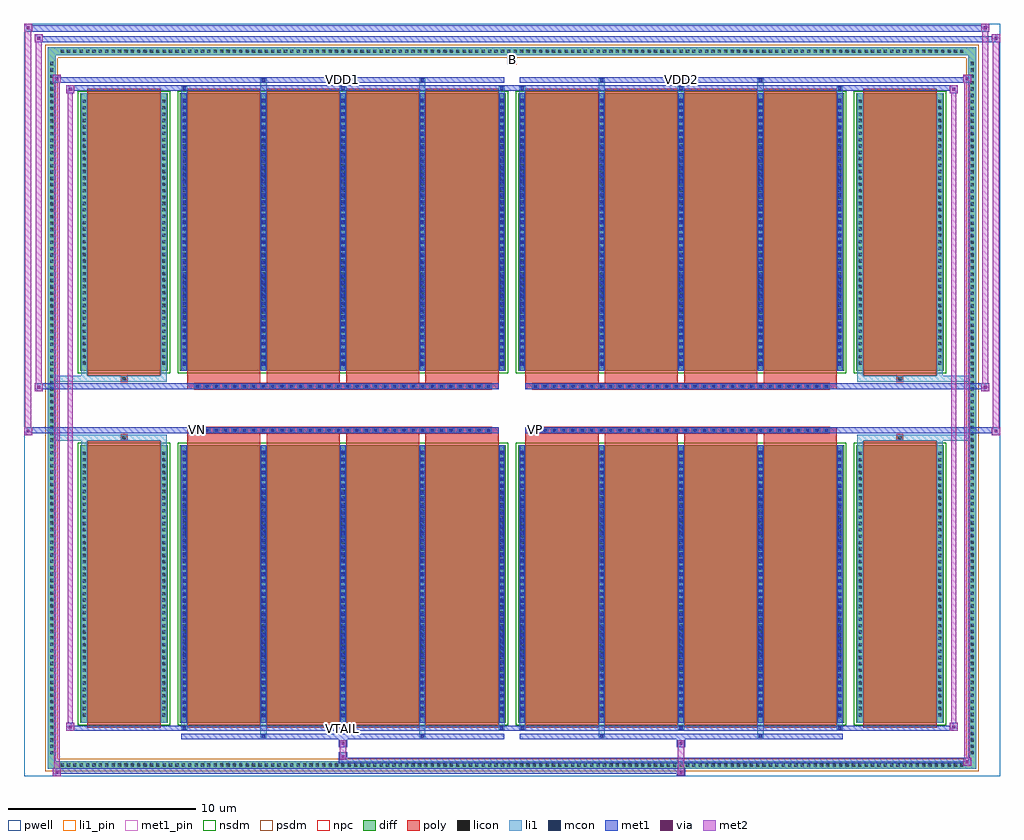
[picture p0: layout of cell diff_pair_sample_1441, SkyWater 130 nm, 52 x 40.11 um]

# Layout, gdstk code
import gdstk
lib = gdstk.Library(unit=1e-6, precision=5e-09)
def R(c, l, rs):  # rectangles x0, y0, x1, y1
    for r in rs: c.add(gdstk.rectangle(r[:2], r[2:], *l))
def A(c, l, x, y, w, h, nx, ny, dx, dy):  # array of equal rectangles
    R(c, l, [(x+i*dx, y+j*dy, x+i*dx+w, y+j*dy+h) for i in range(nx) for j in range(ny)])
def P(c, l, *ps):  # polygons
    for p in ps: c.add(gdstk.Polygon(p, *l))
pwell = (64, 44)
diff = (65, 20)
poly = (66, 20)
licon = (66, 44)
li1_pin = (67, 16)
li1 = (67, 20)
mcon = (67, 44)
met1_pin = (68, 16)
met1 = (68, 20)
via = (68, 44)
met2 = (69, 20)
nsdm = (93, 44)
psdm = (94, 20)
npc = (95, 20)

diff_pair_sample_1441 = lib.new_cell('diff_pair_sample_1441')
R(diff_pair_sample_1441, pwell, [(-26,-19.62,26,20.49), (-23.32,-17.81,-0.01,-0.805), (0.01,-17.81,23.32,-0.805), (-23.32,0.805,-0.01,17.81), (0.01,0.805,23.32,17.81)])
A(diff_pair_sample_1441, diff, -24.175, -19.22, 0.41, 0.41, 142, 2, 0.34, 38.03)
A(diff_pair_sample_1441, diff, -24.73, -18.565, 0.41, 0.41, 1, 109, 0, 0.34)
A(diff_pair_sample_1441, diff, 24.32, -18.565, 0.41, 0.41, 1, 109, 0, 0.34)
R(diff_pair_sample_1441, diff, [(-24.175,-19.22,24.175,-18.81), (-24.73,-18.565,-24.32,18.565), (24.32,-18.565,24.73,18.565), (-23.01,-16.765,-18.33,-1.985), (-17.69,-16.765,-0.32,-1.985), (0.32,-16.765,17.69,-1.985), (18.33,-16.765,23.01,-1.985), (-23.01,1.985,-18.33,16.765), (-17.69,1.985,-0.32,16.765), (0.32,1.985,17.69,16.765), (18.33,1.985,23.01,16.765), (-24.175,18.81,24.175,19.22)])
P(diff_pair_sample_1441, diff, [(24.73,19.22),(-24.73,19.22),(-24.73,-18.81),(-24.32,-18.81),(-24.32,18.81),(24.32,18.81),(24.32,-18.81),(-24.32,-18.81),(-24.73,-18.81),(-24.73,-19.22),(24.73,-19.22)])
A(diff_pair_sample_1441, poly, -17.3, -17.015, 3.9, 15.28, 4, 2, 4.23, 18.75)
A(diff_pair_sample_1441, poly, 0.71, -17.015, 3.9, 15.28, 4, 2, 4.23, 18.75)
A(diff_pair_sample_1441, poly, -17.3, -1.735, 3.9, 0.4, 4, 2, 4.23, 3.07)
A(diff_pair_sample_1441, poly, 0.71, -1.735, 3.9, 0.4, 4, 2, 4.23, 3.07)
A(diff_pair_sample_1441, poly, -16.92, -1.335, 0.33, 0.33, 32, 2, 0.5, 2.34)
A(diff_pair_sample_1441, poly, 1.09, -1.335, 0.33, 0.33, 32, 2, 0.5, 2.34)
R(diff_pair_sample_1441, poly, [(-22.62,-17.015,-18.72,-1.735), (18.72,-17.015,22.62,-1.735), (-20.835,-1.735,-20.505,-1.405), (-20.835,-1.735,-20.505,-1.405), (20.505,-1.735,20.835,-1.405), (20.505,-1.735,20.835,-1.405), (-17.3,-1.335,-0.71,-1.005), (0.71,-1.335,17.3,-1.005), (-17.3,1.005,-0.71,1.335), (0.71,1.005,17.3,1.335), (-20.835,1.405,-20.505,1.735), (-20.835,1.405,-20.505,1.735), (20.505,1.405,20.835,1.735), (20.505,1.405,20.835,1.735), (-22.62,1.735,-18.72,17.015), (18.72,1.735,22.62,17.015)])
A(diff_pair_sample_1441, licon, -24.055, -19.1, 0.17, 0.17, 142, 2, 0.34, 38.03)
A(diff_pair_sample_1441, licon, -24.61, -18.445, 0.17, 0.17, 1, 109, 0, 0.34)
A(diff_pair_sample_1441, licon, 24.44, -18.445, 0.17, 0.17, 1, 109, 0, 0.34)
A(diff_pair_sample_1441, licon, -22.87, -16.43, 0.17, 0.17, 1, 42, 0, 0.34)
A(diff_pair_sample_1441, licon, -18.64, -16.43, 0.17, 0.17, 1, 42, 0, 0.34)
A(diff_pair_sample_1441, licon, -17.55, -16.43, 0.17, 0.17, 5, 42, 4.23, 0.34)
A(diff_pair_sample_1441, licon, 0.46, -16.43, 0.17, 0.17, 5, 42, 4.23, 0.34)
A(diff_pair_sample_1441, licon, 18.47, -16.43, 0.17, 0.17, 1, 42, 0, 0.34)
A(diff_pair_sample_1441, licon, 22.7, -16.43, 0.17, 0.17, 1, 42, 0, 0.34)
A(diff_pair_sample_1441, licon, -16.84, -1.255, 0.17, 0.17, 32, 2, 0.5, 2.34)
A(diff_pair_sample_1441, licon, 1.17, -1.255, 0.17, 0.17, 32, 2, 0.5, 2.34)
A(diff_pair_sample_1441, licon, -22.87, 2.32, 0.17, 0.17, 1, 42, 0, 0.34)
A(diff_pair_sample_1441, licon, -18.64, 2.32, 0.17, 0.17, 1, 42, 0, 0.34)
A(diff_pair_sample_1441, licon, -17.55, 2.32, 0.17, 0.17, 5, 42, 4.23, 0.34)
A(diff_pair_sample_1441, licon, 0.46, 2.32, 0.17, 0.17, 5, 42, 4.23, 0.34)
A(diff_pair_sample_1441, licon, 18.47, 2.32, 0.17, 0.17, 1, 42, 0, 0.34)
A(diff_pair_sample_1441, licon, 22.7, 2.32, 0.17, 0.17, 1, 42, 0, 0.34)
R(diff_pair_sample_1441, licon, [(-20.755,-1.655,-20.585,-1.485), (20.585,-1.655,20.755,-1.485), (-20.755,1.485,-20.585,1.655), (20.585,1.485,20.755,1.655)])
R(diff_pair_sample_1441, li1_pin, [(-0.25,18.31,0.25,18.81)])
A(diff_pair_sample_1441, li1, -24.135, -19.18, 0.33, 0.33, 142, 2, 0.34, 38.03)
A(diff_pair_sample_1441, li1, -24.69, -18.525, 0.33, 0.33, 1, 109, 0, 0.34)
A(diff_pair_sample_1441, li1, 24.36, -18.525, 0.33, 0.33, 1, 109, 0, 0.34)
A(diff_pair_sample_1441, li1, -17.63, -17.14, 0.33, 0.375, 3, 2, 8.46, 33.905)
A(diff_pair_sample_1441, li1, -17.55, -17.14, 0.17, 0.17, 3, 2, 8.46, 34.11)
A(diff_pair_sample_1441, li1, 0.38, -17.14, 0.33, 0.375, 3, 2, 8.46, 33.905)
A(diff_pair_sample_1441, li1, 0.46, -17.14, 0.17, 0.17, 3, 2, 8.46, 34.11)
A(diff_pair_sample_1441, li1, -17.63, -16.765, 0.33, 14.78, 5, 2, 4.23, 18.75)
A(diff_pair_sample_1441, li1, 0.38, -16.765, 0.33, 14.78, 5, 2, 4.23, 18.75)
A(diff_pair_sample_1441, li1, -22.95, -16.51, 0.33, 0.33, 1, 42, 0, 0.34)
A(diff_pair_sample_1441, li1, -18.72, -16.51, 0.33, 0.33, 1, 42, 0, 0.34)
A(diff_pair_sample_1441, li1, -17.63, -16.51, 0.33, 0.33, 5, 42, 4.23, 0.34)
A(diff_pair_sample_1441, li1, 0.38, -16.51, 0.33, 0.33, 5, 42, 4.23, 0.34)
A(diff_pair_sample_1441, li1, 18.39, -16.51, 0.33, 0.33, 1, 42, 0, 0.34)
A(diff_pair_sample_1441, li1, 22.62, -16.51, 0.33, 0.33, 1, 42, 0, 0.34)
A(diff_pair_sample_1441, li1, -17.55, -16.48, 0.17, 0.17, 5, 40, 4.23, 0.36)
A(diff_pair_sample_1441, li1, -17.55, -16.48, 0.17, 14.21, 5, 2, 4.23, 18.75)
A(diff_pair_sample_1441, li1, 0.46, -16.48, 0.17, 0.17, 5, 40, 4.23, 0.36)
A(diff_pair_sample_1441, li1, 0.46, -16.48, 0.17, 14.21, 5, 2, 4.23, 18.75)
A(diff_pair_sample_1441, li1, -16.92, -1.335, 0.33, 0.33, 32, 2, 0.5, 2.34)
A(diff_pair_sample_1441, li1, 1.09, -1.335, 0.33, 0.33, 32, 2, 0.5, 2.34)
A(diff_pair_sample_1441, li1, -22.95, 2.24, 0.33, 0.33, 1, 42, 0, 0.34)
A(diff_pair_sample_1441, li1, -18.72, 2.24, 0.33, 0.33, 1, 42, 0, 0.34)
A(diff_pair_sample_1441, li1, -17.63, 2.24, 0.33, 0.33, 5, 42, 4.23, 0.34)
A(diff_pair_sample_1441, li1, 0.38, 2.24, 0.33, 0.33, 5, 42, 4.23, 0.34)
A(diff_pair_sample_1441, li1, 18.39, 2.24, 0.33, 0.33, 1, 42, 0, 0.34)
A(diff_pair_sample_1441, li1, 22.62, 2.24, 0.33, 0.33, 1, 42, 0, 0.34)
A(diff_pair_sample_1441, li1, -17.55, 2.27, 0.17, 0.17, 5, 40, 4.23, 0.36)
A(diff_pair_sample_1441, li1, 0.46, 2.27, 0.17, 0.17, 5, 40, 4.23, 0.36)
R(diff_pair_sample_1441, li1, [(-24.73,-19.22,-24.32,-18.81), (-24.73,-19.22,-24.32,-18.81), (-24.32,-19.22,24.32,-18.81), (24.32,-19.22,24.73,-18.81), (24.32,-19.22,24.73,-18.81), (-24.73,-18.81,-24.32,18.81), (24.32,-18.81,24.73,18.81), (-13.4,-17.57,-13.07,-16.765), (-13.32,-17.57,-13.15,-17.4), (-4.94,-17.57,-4.61,-16.765), (-4.86,-17.57,-4.69,-17.4), (4.61,-17.57,4.94,-16.765), (4.69,-17.57,4.86,-17.4), (13.07,-17.57,13.4,-16.765), (13.15,-17.57,13.32,-17.4), (-22.95,-16.765,-22.62,-1.985), (-18.72,-16.765,-18.39,-1.985), (18.39,-16.765,18.72,-1.985), (22.62,-16.765,22.95,-1.985), (-22.95,-1.985,-22.62,-1.405), (-18.72,-1.985,-18.39,-1.405), (18.39,-1.985,18.72,-1.405), (22.62,-1.985,22.95,-1.405), (-24.73,-1.735,-20.835,-1.405), (-22.95,-1.735,-20.835,-1.405), (-20.835,-1.735,-20.505,-1.405), (-20.505,-1.735,-18.39,-1.405), (18.39,-1.735,20.505,-1.405), (20.505,-1.735,20.835,-1.405), (20.505,-1.735,24.73,-1.405), (20.835,-1.735,22.95,-1.405), (-24.73,1.405,-20.835,1.735), (-22.95,1.405,-20.835,1.735), (-22.95,1.405,-22.62,1.985), (-20.835,1.405,-20.505,1.735), (-20.505,1.405,-18.39,1.735), (-18.72,1.405,-18.39,1.985), (18.39,1.405,20.505,1.735), (18.39,1.405,18.72,1.985), (20.505,1.405,20.835,1.735), (20.505,1.405,24.73,1.735), (20.835,1.405,22.95,1.735), (22.62,1.405,22.95,1.985), (-22.95,1.985,-22.62,16.765), (-18.72,1.985,-18.39,16.765), (18.39,1.985,18.72,16.765), (22.62,1.985,22.95,16.765), (-13.4,16.765,-13.07,17.57), (-4.94,16.765,-4.61,17.57), (4.61,16.765,4.94,17.57), (13.07,16.765,13.4,17.57), (-13.32,17.4,-13.15,17.57), (-4.86,17.4,-4.69,17.57), (4.69,17.4,4.86,17.57), (13.15,17.4,13.32,17.57), (-24.73,18.81,-24.32,19.22), (-24.73,18.81,-24.32,19.22), (-24.32,18.81,24.32,19.22), (24.32,18.81,24.73,19.22), (24.32,18.81,24.73,19.22)])
A(diff_pair_sample_1441, mcon, -17.55, -17.14, 0.17, 0.17, 3, 2, 8.46, 34.11)
A(diff_pair_sample_1441, mcon, 0.46, -17.14, 0.17, 0.17, 3, 2, 8.46, 34.11)
A(diff_pair_sample_1441, mcon, -17.55, -16.48, 0.17, 0.17, 5, 40, 4.23, 0.36)
A(diff_pair_sample_1441, mcon, 0.46, -16.48, 0.17, 0.17, 5, 40, 4.23, 0.36)
A(diff_pair_sample_1441, mcon, -16.84, -1.255, 0.17, 0.17, 32, 2, 0.5, 2.34)
A(diff_pair_sample_1441, mcon, 1.17, -1.255, 0.17, 0.17, 32, 2, 0.5, 2.34)
A(diff_pair_sample_1441, mcon, -17.55, 2.27, 0.17, 0.17, 5, 40, 4.23, 0.36)
A(diff_pair_sample_1441, mcon, 0.46, 2.27, 0.17, 0.17, 5, 40, 4.23, 0.36)
R(diff_pair_sample_1441, mcon, [(-13.32,-17.57,-13.15,-17.4), (-4.86,-17.57,-4.69,-17.4), (4.69,-17.57,4.86,-17.4), (13.15,-17.57,13.32,-17.4), (-13.32,17.4,-13.15,17.57), (-4.86,17.4,-4.69,17.57), (4.69,17.4,4.86,17.57), (13.15,17.4,13.32,17.57)])
R(diff_pair_sample_1441, met1_pin, [(-9.14,-17.18,-8.87,-16.91), (-16.89,-1.295,-16.62,-1.025), (1.12,-1.295,1.39,-1.025), (-9.14,17.36,-8.87,17.63), (8.87,17.36,9.14,17.63)])
A(diff_pair_sample_1441, met1, -17.61, -17.2, 0.29, 0.29, 3, 2, 8.46, 34.11)
A(diff_pair_sample_1441, met1, 0.4, -17.2, 0.29, 0.29, 3, 2, 8.46, 34.11)
A(diff_pair_sample_1441, met1, -17.61, -16.765, 0.29, 14.78, 5, 2, 4.23, 18.75)
A(diff_pair_sample_1441, met1, 0.4, -16.765, 0.29, 14.78, 5, 2, 4.23, 18.75)
A(diff_pair_sample_1441, met1, -17.61, -16.54, 0.29, 0.29, 5, 40, 4.23, 0.36)
A(diff_pair_sample_1441, met1, 0.4, -16.54, 0.29, 0.29, 5, 40, 4.23, 0.36)
A(diff_pair_sample_1441, met1, -16.9, -1.315, 0.29, 0.29, 32, 2, 0.5, 2.34)
A(diff_pair_sample_1441, met1, 1.11, -1.315, 0.29, 0.29, 32, 2, 0.5, 2.34)
A(diff_pair_sample_1441, met1, -17.61, 2.21, 0.29, 0.29, 5, 40, 4.23, 0.36)
A(diff_pair_sample_1441, met1, 0.4, 2.21, 0.29, 0.29, 5, 40, 4.23, 0.36)
R(diff_pair_sample_1441, met1, [(-24.46,-19.62,-24.03,-19.19), (8.79,-19.62,9.22,-19.19), (-24.46,-19.48,9.22,-19.19), (24.03,-19.05,24.46,-18.62), (-9.22,-18.91,24.46,-18.62), (-9.22,-18.77,-8.79,-18.34), (-9.22,-18.06,-8.79,-17.63), (8.79,-18.06,9.22,-17.63), (-17.61,-17.63,-0.4,-17.34), (-13.38,-17.63,-13.09,-17.34), (-4.92,-17.63,-4.63,-17.34), (0.4,-17.63,17.61,-17.34), (4.63,-17.63,4.92,-17.34), (13.09,-17.63,13.38,-17.34), (-23.75,-17.2,-23.32,-16.77), (-23.75,-17.2,-17.61,-16.91), (-17.61,-17.2,-0.4,-16.91), (-0.4,-17.2,0.4,-16.91), (0.4,-17.2,17.61,-16.91), (17.61,-17.2,23.75,-16.91), (23.32,-17.2,23.75,-16.77), (-26,-1.435,-25.57,-1.005), (25.57,-1.435,26,-1.005), (-26,-1.335,-0.71,-1.005), (-17.3,-1.335,-0.71,-1.005), (0.71,-1.335,17.3,-1.005), (0.71,-1.335,26,-1.005), (-25.43,0.905,-25,1.335), (25,0.905,25.43,1.335), (-25.43,1.005,-17.3,1.335), (-17.3,1.005,-0.71,1.335), (0.71,1.005,17.3,1.335), (17.3,1.005,25.43,1.335), (-23.75,16.77,-23.32,17.2), (23.32,16.77,23.75,17.2), (-23.75,16.91,-17.61,17.2), (-17.61,16.91,-0.4,17.2), (-0.4,16.91,0.4,17.2), (0.4,16.91,17.61,17.2), (17.61,16.91,23.75,17.2), (-24.46,17.34,-24.03,17.77), (-24.46,17.34,-17.61,17.63), (-17.61,17.34,-0.4,17.63), (-13.38,17.34,-13.09,17.63), (-4.92,17.34,-4.63,17.63), (0.4,17.34,17.61,17.63), (4.63,17.34,4.92,17.63), (13.09,17.34,13.38,17.63), (17.61,17.34,24.46,17.63), (24.03,17.34,24.46,17.77), (-25.43,19.49,-25,19.92), (-25.43,19.49,-23.32,19.82), (-23.32,19.49,23.32,19.82), (23.32,19.49,26,19.82), (25.57,19.49,26,19.92), (-26,20.06,-25.57,20.49), (-26,20.06,-23.32,20.39), (-23.32,20.06,23.32,20.39), (23.32,20.06,25.43,20.39), (25,20.06,25.43,20.49)])
R(diff_pair_sample_1441, via, [(-24.32,-19.48,-24.17,-19.33), (8.93,-19.48,9.08,-19.33), (24.17,-18.91,24.32,-18.76), (-9.08,-18.63,-8.93,-18.48), (-9.08,-17.92,-8.93,-17.77), (8.93,-17.92,9.08,-17.77), (-23.61,-17.06,-23.46,-16.91), (23.46,-17.06,23.61,-16.91), (-25.86,-1.295,-25.71,-1.145), (25.71,-1.295,25.86,-1.145), (-25.29,1.045,-25.14,1.195), (25.14,1.045,25.29,1.195), (-23.61,16.91,-23.46,17.06), (23.46,16.91,23.61,17.06), (-24.32,17.48,-24.17,17.63), (24.17,17.48,24.32,17.63), (-25.29,19.63,-25.14,19.78), (25.71,19.63,25.86,19.78), (-25.86,20.2,-25.71,20.35), (25.14,20.2,25.29,20.35)])
R(diff_pair_sample_1441, met2, [(-24.46,-19.62,-24.03,-19.19), (-24.39,-19.62,-24.1,17.77), (-24.1,-19.62,-24.03,-19.19), (-24.41,-19.57,-24.08,-19.24), (8.84,-19.57,9.17,-19.24), (8.84,-19.24,9.17,-18.01), (24.03,-19.05,24.46,-18.62), (24.1,-19.05,24.39,17.77), (24.39,-19.05,24.46,-18.62), (24.08,-19,24.41,-18.67), (-9.17,-18.72,-8.84,-18.39), (-9.17,-18.39,-8.84,-18.01), (-9.17,-18.01,-8.84,-17.68), (8.84,-18.01,9.17,-17.68), (-23.75,-17.2,-23.32,-16.77), (-23.68,-17.2,-23.39,17.2), (-23.39,-17.2,-23.32,-16.77), (23.32,-17.2,23.75,-16.77), (23.39,-17.2,23.68,17.2), (23.68,-17.2,23.75,-16.77), (-23.7,-17.15,-23.37,-16.82), (23.37,-17.15,23.7,-16.82), (-26,-1.435,-25.57,-1.005), (-25.95,-1.435,-25.62,20.49), (-25.62,-1.435,-25.57,-1.005), (25.57,-1.435,26,-1.005), (25.62,-1.435,25.95,19.92), (25.95,-1.435,26,-1.005), (-25.95,-1.385,-25.62,-1.055), (25.62,-1.385,25.95,-1.055), (-25.43,0.905,-25,1.335), (-25.38,0.905,-25.05,19.92), (-25.05,0.905,-25,1.335), (25,0.905,25.43,1.335), (25.05,0.905,25.38,20.49), (25.38,0.905,25.43,1.335), (-25.38,0.955,-25.05,1.285), (25.05,0.955,25.38,1.285), (-23.75,16.77,-23.32,17.2), (-23.39,16.77,-23.32,17.2), (23.32,16.77,23.75,17.2), (23.68,16.77,23.75,17.2), (-23.7,16.82,-23.37,17.15), (23.37,16.82,23.7,17.15), (-24.46,17.34,-24.03,17.77), (-24.1,17.34,-24.03,17.77), (24.03,17.34,24.46,17.77), (24.39,17.34,24.46,17.77), (-24.41,17.39,-24.08,17.72), (24.08,17.39,24.41,17.72), (-25.43,19.49,-25,19.92), (-25.05,19.49,-25,19.92), (25.57,19.49,26,19.92), (25.95,19.49,26,19.92), (-25.38,19.54,-25.05,19.87), (25.62,19.54,25.95,19.87), (-26,20.06,-25.57,20.49), (-25.62,20.06,-25.57,20.49), (25,20.06,25.43,20.49), (25.38,20.06,25.43,20.49), (-25.95,20.11,-25.62,20.44), (25.05,20.11,25.38,20.44)])
R(diff_pair_sample_1441, nsdm, [(-23.14,-16.895,-18.2,-1.855), (-17.82,-16.895,-0.19,-1.855), (0.19,-16.895,17.82,-1.855), (18.2,-16.895,23.14,-1.855), (-23.14,1.855,-18.2,16.895), (-17.82,1.855,-0.19,16.895), (0.19,1.855,17.82,16.895), (18.2,1.855,23.14,16.895)])
P(diff_pair_sample_1441, psdm, [(24.86,19.35),(-24.86,19.35),(-24.86,-18.68),(-24.19,-18.68),(-24.19,18.68),(24.19,18.68),(24.19,-18.68),(-24.19,-18.68),(-24.86,-18.68),(-24.86,-19.35),(24.86,-19.35)])
A(diff_pair_sample_1441, npc, -16.94, -1.355, 0.37, 0.37, 32, 2, 0.5, 2.34)
A(diff_pair_sample_1441, npc, 1.07, -1.355, 0.37, 0.37, 32, 2, 0.5, 2.34)
R(diff_pair_sample_1441, npc, [(-20.855,-1.755,-20.485,-1.385), (20.485,-1.755,20.855,-1.385), (-16.94,-1.355,-16.07,-0.985), (-16.94,-1.355,-16.07,-0.985), (-16.44,-1.355,-15.57,-0.985), (-16.44,-1.355,-15.57,-0.985), (-15.94,-1.355,-15.07,-0.985), (-15.94,-1.355,-15.07,-0.985), (-15.44,-1.355,-14.57,-0.985), (-15.44,-1.355,-14.57,-0.985), (-14.94,-1.355,-14.07,-0.985), (-14.94,-1.355,-14.07,-0.985), (-14.44,-1.355,-13.57,-0.985), (-14.44,-1.355,-13.57,-0.985), (-13.94,-1.355,-13.07,-0.985), (-13.94,-1.355,-13.07,-0.985), (-13.44,-1.355,-12.57,-0.985), (-13.44,-1.355,-12.57,-0.985), (-12.94,-1.355,-12.07,-0.985), (-12.94,-1.355,-12.07,-0.985), (-12.44,-1.355,-11.57,-0.985), (-12.44,-1.355,-11.57,-0.985), (-11.94,-1.355,-11.07,-0.985), (-11.94,-1.355,-11.07,-0.985), (-11.44,-1.355,-10.57,-0.985), (-11.44,-1.355,-10.57,-0.985), (-10.94,-1.355,-10.07,-0.985), (-10.94,-1.355,-10.07,-0.985), (-10.44,-1.355,-9.57,-0.985), (-10.44,-1.355,-9.57,-0.985), (-9.94,-1.355,-9.07,-0.985), (-9.94,-1.355,-9.07,-0.985), (-9.44,-1.355,-8.57,-0.985), (-9.44,-1.355,-8.57,-0.985), (-8.94,-1.355,-8.07,-0.985), (-8.94,-1.355,-8.07,-0.985), (-8.44,-1.355,-7.57,-0.985), (-8.44,-1.355,-7.57,-0.985), (-7.94,-1.355,-7.07,-0.985), (-7.94,-1.355,-7.07,-0.985), (-7.44,-1.355,-6.57,-0.985), (-7.44,-1.355,-6.57,-0.985), (-6.94,-1.355,-6.07,-0.985), (-6.94,-1.355,-6.07,-0.985), (-6.44,-1.355,-5.57,-0.985), (-6.44,-1.355,-5.57,-0.985), (-5.94,-1.355,-5.07,-0.985), (-5.94,-1.355,-5.07,-0.985), (-5.44,-1.355,-4.57,-0.985), (-5.44,-1.355,-4.57,-0.985), (-4.94,-1.355,-4.07,-0.985), (-4.94,-1.355,-4.07,-0.985), (-4.44,-1.355,-3.57,-0.985), (-4.44,-1.355,-3.57,-0.985), (-3.94,-1.355,-3.07,-0.985), (-3.94,-1.355,-3.07,-0.985), (-3.44,-1.355,-2.57,-0.985), (-3.44,-1.355,-2.57,-0.985), (-2.94,-1.355,-2.07,-0.985), (-2.94,-1.355,-2.07,-0.985), (-2.44,-1.355,-1.57,-0.985), (-2.44,-1.355,-1.57,-0.985), (-1.94,-1.355,-1.07,-0.985), (-1.94,-1.355,-1.07,-0.985), (1.07,-1.355,1.94,-0.985), (1.07,-1.355,1.94,-0.985), (1.57,-1.355,2.44,-0.985), (1.57,-1.355,2.44,-0.985), (2.07,-1.355,2.94,-0.985), (2.07,-1.355,2.94,-0.985), (2.57,-1.355,3.44,-0.985), (2.57,-1.355,3.44,-0.985), (3.07,-1.355,3.94,-0.985), (3.07,-1.355,3.94,-0.985), (3.57,-1.355,4.44,-0.985), (3.57,-1.355,4.44,-0.985), (4.07,-1.355,4.94,-0.985), (4.07,-1.355,4.94,-0.985), (4.57,-1.355,5.44,-0.985), (4.57,-1.355,5.44,-0.985), (5.07,-1.355,5.94,-0.985), (5.07,-1.355,5.94,-0.985), (5.57,-1.355,6.44,-0.985), (5.57,-1.355,6.44,-0.985), (6.07,-1.355,6.94,-0.985), (6.07,-1.355,6.94,-0.985), (6.57,-1.355,7.44,-0.985), (6.57,-1.355,7.44,-0.985), (7.07,-1.355,7.94,-0.985), (7.07,-1.355,7.94,-0.985), (7.57,-1.355,8.44,-0.985), (7.57,-1.355,8.44,-0.985), (8.07,-1.355,8.94,-0.985), (8.07,-1.355,8.94,-0.985), (8.57,-1.355,9.44,-0.985), (8.57,-1.355,9.44,-0.985), (9.07,-1.355,9.94,-0.985), (9.07,-1.355,9.94,-0.985), (9.57,-1.355,10.44,-0.985), (9.57,-1.355,10.44,-0.985), (10.07,-1.355,10.94,-0.985), (10.07,-1.355,10.94,-0.985), (10.57,-1.355,11.44,-0.985), (10.57,-1.355,11.44,-0.985), (11.07,-1.355,11.94,-0.985), (11.07,-1.355,11.94,-0.985), (11.57,-1.355,12.44,-0.985), (11.57,-1.355,12.44,-0.985), (12.07,-1.355,12.94,-0.985), (12.07,-1.355,12.94,-0.985), (12.57,-1.355,13.44,-0.985), (12.57,-1.355,13.44,-0.985), (13.07,-1.355,13.94,-0.985), (13.07,-1.355,13.94,-0.985), (13.57,-1.355,14.44,-0.985), (13.57,-1.355,14.44,-0.985), (14.07,-1.355,14.94,-0.985), (14.07,-1.355,14.94,-0.985), (14.57,-1.355,15.44,-0.985), (14.57,-1.355,15.44,-0.985), (15.07,-1.355,15.94,-0.985), (15.07,-1.355,15.94,-0.985), (15.57,-1.355,16.44,-0.985), (15.57,-1.355,16.44,-0.985), (16.07,-1.355,16.94,-0.985), (16.07,-1.355,16.94,-0.985), (-16.94,0.985,-16.07,1.355), (-16.94,0.985,-16.07,1.355), (-16.44,0.985,-15.57,1.355), (-16.44,0.985,-15.57,1.355), (-15.94,0.985,-15.07,1.355), (-15.94,0.985,-15.07,1.355), (-15.44,0.985,-14.57,1.355), (-15.44,0.985,-14.57,1.355), (-14.94,0.985,-14.07,1.355), (-14.94,0.985,-14.07,1.355), (-14.44,0.985,-13.57,1.355), (-14.44,0.985,-13.57,1.355), (-13.94,0.985,-13.07,1.355), (-13.94,0.985,-13.07,1.355), (-13.44,0.985,-12.57,1.355), (-13.44,0.985,-12.57,1.355), (-12.94,0.985,-12.07,1.355), (-12.94,0.985,-12.07,1.355), (-12.44,0.985,-11.57,1.355), (-12.44,0.985,-11.57,1.355), (-11.94,0.985,-11.07,1.355), (-11.94,0.985,-11.07,1.355), (-11.44,0.985,-10.57,1.355), (-11.44,0.985,-10.57,1.355), (-10.94,0.985,-10.07,1.355), (-10.94,0.985,-10.07,1.355), (-10.44,0.985,-9.57,1.355), (-10.44,0.985,-9.57,1.355), (-9.94,0.985,-9.07,1.355), (-9.94,0.985,-9.07,1.355), (-9.44,0.985,-8.57,1.355), (-9.44,0.985,-8.57,1.355), (-8.94,0.985,-8.07,1.355), (-8.94,0.985,-8.07,1.355), (-8.44,0.985,-7.57,1.355), (-8.44,0.985,-7.57,1.355), (-7.94,0.985,-7.07,1.355), (-7.94,0.985,-7.07,1.355), (-7.44,0.985,-6.57,1.355), (-7.44,0.985,-6.57,1.355), (-6.94,0.985,-6.07,1.355), (-6.94,0.985,-6.07,1.355), (-6.44,0.985,-5.57,1.355), (-6.44,0.985,-5.57,1.355), (-5.94,0.985,-5.07,1.355), (-5.94,0.985,-5.07,1.355), (-5.44,0.985,-4.57,1.355), (-5.44,0.985,-4.57,1.355), (-4.94,0.985,-4.07,1.355), (-4.94,0.985,-4.07,1.355), (-4.44,0.985,-3.57,1.355), (-4.44,0.985,-3.57,1.355), (-3.94,0.985,-3.07,1.355), (-3.94,0.985,-3.07,1.355), (-3.44,0.985,-2.57,1.355), (-3.44,0.985,-2.57,1.355), (-2.94,0.985,-2.07,1.355), (-2.94,0.985,-2.07,1.355), (-2.44,0.985,-1.57,1.355), (-2.44,0.985,-1.57,1.355), (-1.94,0.985,-1.07,1.355), (-1.94,0.985,-1.07,1.355), (1.07,0.985,1.94,1.355), (1.07,0.985,1.94,1.355), (1.57,0.985,2.44,1.355), (1.57,0.985,2.44,1.355), (2.07,0.985,2.94,1.355), (2.07,0.985,2.94,1.355), (2.57,0.985,3.44,1.355), (2.57,0.985,3.44,1.355), (3.07,0.985,3.94,1.355), (3.07,0.985,3.94,1.355), (3.57,0.985,4.44,1.355), (3.57,0.985,4.44,1.355), (4.07,0.985,4.94,1.355), (4.07,0.985,4.94,1.355), (4.57,0.985,5.44,1.355), (4.57,0.985,5.44,1.355), (5.07,0.985,5.94,1.355), (5.07,0.985,5.94,1.355), (5.57,0.985,6.44,1.355), (5.57,0.985,6.44,1.355), (6.07,0.985,6.94,1.355), (6.07,0.985,6.94,1.355), (6.57,0.985,7.44,1.355), (6.57,0.985,7.44,1.355), (7.07,0.985,7.94,1.355), (7.07,0.985,7.94,1.355), (7.57,0.985,8.44,1.355), (7.57,0.985,8.44,1.355), (8.07,0.985,8.94,1.355), (8.07,0.985,8.94,1.355), (8.57,0.985,9.44,1.355), (8.57,0.985,9.44,1.355), (9.07,0.985,9.94,1.355), (9.07,0.985,9.94,1.355), (9.57,0.985,10.44,1.355), (9.57,0.985,10.44,1.355), (10.07,0.985,10.94,1.355), (10.07,0.985,10.94,1.355), (10.57,0.985,11.44,1.355), (10.57,0.985,11.44,1.355), (11.07,0.985,11.94,1.355), (11.07,0.985,11.94,1.355), (11.57,0.985,12.44,1.355), (11.57,0.985,12.44,1.355), (12.07,0.985,12.94,1.355), (12.07,0.985,12.94,1.355), (12.57,0.985,13.44,1.355), (12.57,0.985,13.44,1.355), (13.07,0.985,13.94,1.355), (13.07,0.985,13.94,1.355), (13.57,0.985,14.44,1.355), (13.57,0.985,14.44,1.355), (14.07,0.985,14.94,1.355), (14.07,0.985,14.94,1.355), (14.57,0.985,15.44,1.355), (14.57,0.985,15.44,1.355), (15.07,0.985,15.94,1.355), (15.07,0.985,15.94,1.355), (15.57,0.985,16.44,1.355), (15.57,0.985,16.44,1.355), (16.07,0.985,16.94,1.355), (16.07,0.985,16.94,1.355), (-20.855,1.385,-20.485,1.755), (20.485,1.385,20.855,1.755)])
diff_pair_sample_1441.add(gdstk.Label('VTAIL', (-9.005,-17.045), layer=68, texttype=5))
diff_pair_sample_1441.add(gdstk.Label('VN', (-16.755,-1.16), layer=68, texttype=5))
diff_pair_sample_1441.add(gdstk.Label('VP', (1.255,-1.16), layer=68, texttype=5))
diff_pair_sample_1441.add(gdstk.Label('B', (0,18.56), layer=67, texttype=5))
diff_pair_sample_1441.add(gdstk.Label('VDD2', (9.005,17.495), layer=68, texttype=5))
diff_pair_sample_1441.add(gdstk.Label('VDD1', (-9.005,17.495), layer=68, texttype=5))

lib.write_gds('diff_pair_sample_1441.gds')
